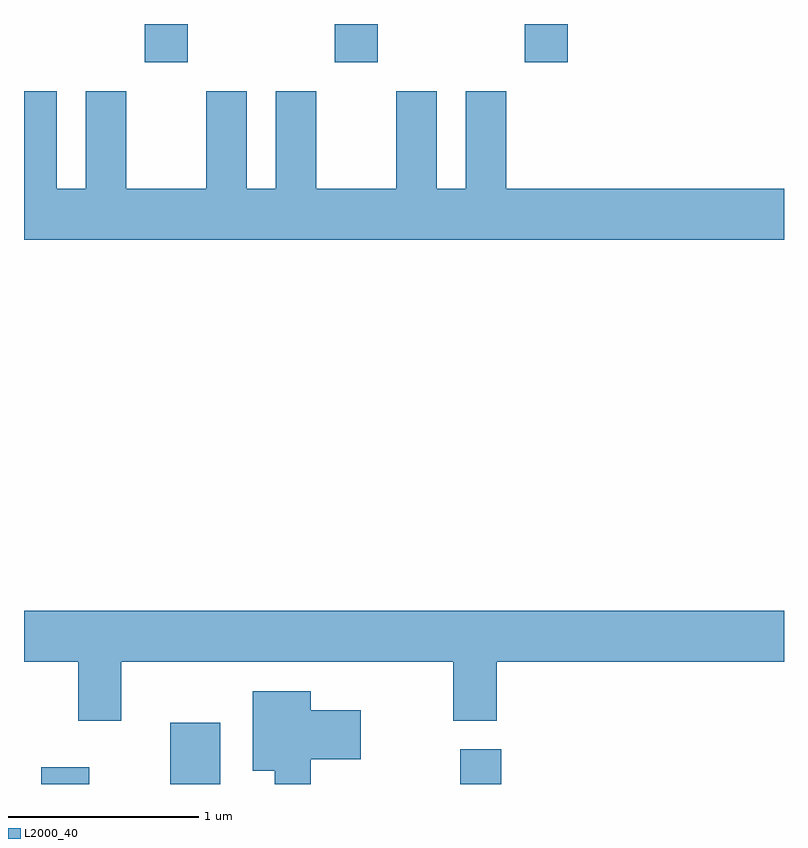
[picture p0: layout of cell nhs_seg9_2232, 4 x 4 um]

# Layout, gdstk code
import gdstk
lib = gdstk.Library(unit=1e-6, precision=1e-09)
def R(c, l, rs):  # rectangles x0, y0, x1, y1
    for r in rs: c.add(gdstk.rectangle(r[:2], r[2:], *l))
def A(c, l, x, y, w, h, nx, ny, dx, dy):  # array of equal rectangles
    R(c, l, [(x+i*dx, y+j*dy, x+i*dx+w, y+j*dy+h) for i in range(nx) for j in range(ny)])
def P(c, l, *ps):  # polygons
    for p in ps: c.add(gdstk.Polygon(p, *l))
L2000_40 = (2000, 40)

nhs_seg9_2232 = lib.new_cell('nhs_seg9_2232')
A(nhs_seg9_2232, L2000_40, 250.246, 2068.231, 0.228, 0.201, 3, 1, 1, 0)
R(nhs_seg9_2232, L2000_40, [(249.701,2064.432,249.954,2064.519), (250.381,2064.432,250.644,2064.754), (251.906,2064.432,252.124,2064.614)])
P(nhs_seg9_2232, L2000_40, [(251.571,2068.079),(251.571,2067.564),(251.149,2067.564),(251.149,2068.079),(250.936,2068.079),(250.936,2067.564),(250.784,2067.564),(250.784,2068.079),(250.571,2068.079),(250.571,2067.564),(250.149,2067.564),(250.149,2068.079),(249.936,2068.079),(249.936,2067.564),(249.784,2067.564),(249.784,2068.079),(249.611,2068.079),(249.611,2067.296),(253.611,2067.296),(253.611,2067.564),(252.149,2067.564),(252.149,2068.079),(251.936,2068.079),(251.936,2067.564),(251.784,2067.564),(251.784,2068.079)],
  [(250.124,2065.076),(251.871,2065.076),(251.871,2064.766),(252.099,2064.766),(252.099,2065.076),(253.611,2065.076),(253.611,2065.344),(249.611,2065.344),(249.611,2065.076),(249.896,2065.076),(249.896,2064.766),(250.124,2064.766)],
  [(251.119,2064.561),(251.384,2064.561),(251.384,2064.819),(251.119,2064.819),(251.119,2064.919),(250.816,2064.919),(250.816,2064.501),(250.931,2064.501),(250.931,2064.432),(251.119,2064.432)])

lib.write_gds('nhs_seg9_2232.gds')
